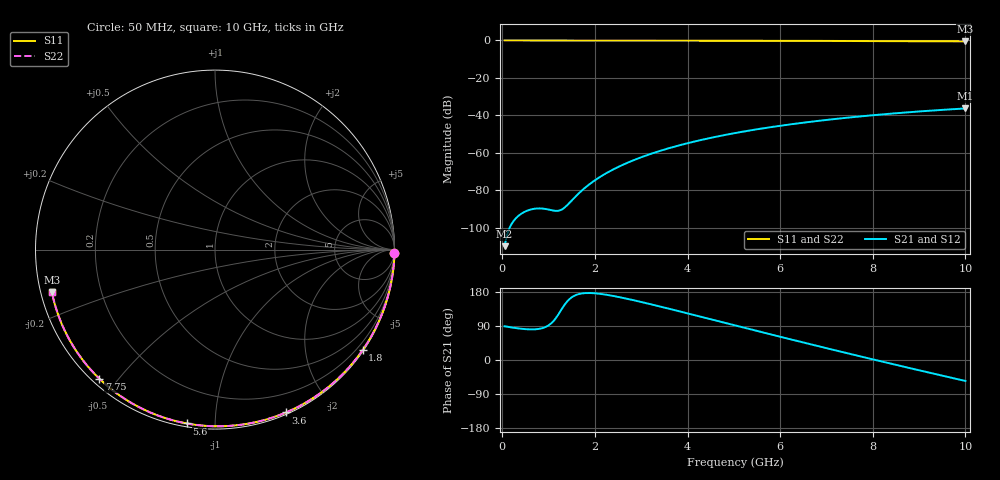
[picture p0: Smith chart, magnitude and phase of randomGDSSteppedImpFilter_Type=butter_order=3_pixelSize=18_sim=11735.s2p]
! freq	dB(S11)	phase(S11)	dB(S12)	phase(S12)
!  dB(S21)	phase(S21)	dB(S22)	phase(S22)
!S-par simulation data
#  GHz  S  DB  R 50
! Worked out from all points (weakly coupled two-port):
!   200 points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, 50 MHz to 10 GHz, reference 50 ohm
!   highest |S21| = -36.33 dB at 10 GHz (marker M1); lowest = -109.9 dB at 50 MHz (marker M2)
!   lowest |S11| = -0.5 dB at 10 GHz (marker M3), VSWR 31.91, Z = 1.59 - j6.41 ohm
!   |S11| at or under -10 dB: nowhere
!   |S22| runs from -0.5 to 0.0 dB; largest |S21 - S12| = 0
!   S11 on the Smith chart (normalised r, x): 50 MHz: open; 1.8 GHz: 0.03, -3.25; 3.6 GHz: 0.02, -1.53; 5.6 GHz: 0.02, -0.85; 7.75 GHz: 0.02, -0.45; 10 GHz: 0.03, -0.13
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0.05  -0.00 -1.0  -109.91 88.9  -109.91 88.9  -0.00 -1.0
0.45  -0.01 -8.7  -91.98 81.9  -91.98 81.9  -0.01 -8.7
0.85  -0.02 -16.4  -89.79 83.6  -89.79 83.6  -0.02 -16.4
1.25  -0.03 -23.9  -90.75 127.9  -90.75 127.9  -0.03 -23.9
1.7  -0.04 -32.4  -80.58 175.2  -80.58 175.2  -0.04 -32.4
1.75  -0.04 -33.3  -79.48 176.1  -79.48 176.1  -0.04 -33.3
1.8  -0.04 -34.2  -78.44 176.6  -78.44 176.6  -0.04 -34.2
1.95  -0.05 -37.0  -75.58 176.5  -75.58 176.5  -0.05 -37.0
2.1  -0.05 -39.7  -73.08 174.8  -73.08 174.8  -0.05 -39.7
2.45  -0.06 -46.1  -68.23 167.8  -68.23 167.8  -0.06 -46.1
2.9  -0.07 -54.2  -63.35 155.9  -63.35 155.9  -0.07 -54.2
3.4  -0.08 -63.0  -59.04 141.3  -59.04 141.3  -0.08 -63.0
3.6  -0.09 -66.4  -57.56 135.3  -57.56 135.3  -0.09 -66.4
4.3  -0.11 -78.3  -53.13 113.8  -53.13 113.8  -0.11 -78.3
5.05  -0.14 -90.5  -49.37 90.6  -49.37 90.6  -0.14 -90.5
5.6  -0.16 -99.2  -47.07 73.6  -47.07 73.6  -0.16 -99.2
6.15  -0.19 -107.8  -45.07 56.8  -45.07 56.8  -0.19 -107.8
6.7  -0.23 -116.1  -43.32 40.2  -43.32 40.2  -0.23 -116.1
7.75  -0.30 -131.8  -40.53 9.0  -40.53 9.0  -0.30 -131.8
8.35  -0.36 -140.7  -39.20 -8.5  -39.20 -8.5  -0.36 -140.7
9.2  -0.45 -153.3  -37.59 -32.8  -37.59 -32.8  -0.45 -153.3
10  -0.54 -165.4  -36.33 -55.3  -36.33 -55.3  -0.54 -165.4
